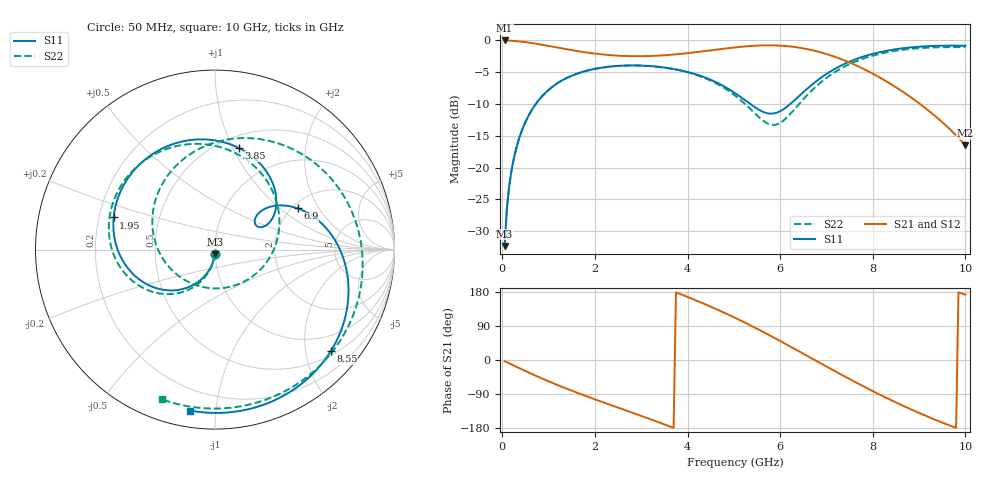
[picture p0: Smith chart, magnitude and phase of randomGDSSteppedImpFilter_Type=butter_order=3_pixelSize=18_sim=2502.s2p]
! freq	dB(S11)	phase(S11)	dB(S12)	phase(S12)
!  dB(S21)	phase(S21)	dB(S22)	phase(S22)
!S-par simulation data
#  GHz  S  DB  R 50
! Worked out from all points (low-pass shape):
!   200 points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, 50 MHz to 10 GHz, reference 50 ohm
!   highest |S21| = -0.01 dB at 50 MHz (marker M1); lowest = -16.5 dB at 10 GHz (marker M2)
!   |S21| within 3 dB of the highest: start of sweep to 7.34 GHz
!   lowest |S11| = -32.4 dB at 50 MHz (marker M3), VSWR 1.05, Z = 49.8 - j2.4 ohm
!   |S11| at or under -10 dB: start of sweep to 724.4 MHz; 5.354 GHz to 6.218 GHz (864.8 MHz wide, 14.9 % of centre)
!   |S22| runs from -32.4 to -1.1 dB; largest |S21 - S12| = 0
!   S11 on the Smith chart (normalised r, x): 50 MHz: 1.00, -0.05; 1.95 GHz: 0.26, +0.14; 3.85 GHz: 0.62, +1.06; 6.9 GHz: 2.14, +1.34; 8.55 GHz: 0.59, -2.53; 10 GHz: 0.08, -0.85
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0.05  -32.35 -93.2  -0.01 -3.0  -0.01 -3.0  -32.37 -92.9
0.1  -26.36 -96.5  -0.02 -6.0  -0.02 -6.0  -26.36 -95.9
0.2  -20.42 -102.8  -0.06 -11.9  -0.06 -11.9  -20.39 -101.5
0.5  -12.83 -121.1  -0.27 -29.2  -0.27 -29.2  -12.82 -118.2
1.1  -7.20 -155.2  -1.00 -61.4  -1.00 -61.4  -7.19 -148.8
1.75  -4.91 171.9  -1.83 -92.6  -1.83 -92.6  -4.91 -178.2
1.95  -4.55 162.4  -2.03 -101.6  -2.03 -101.6  -4.54 173.3
2.65  -3.95 130.3  -2.45 -132.2  -2.45 -132.2  -3.96 144.3
3.4  -4.17 96.8  -2.38 -165.3  -2.38 -165.3  -4.19 112.0
3.85  -4.70 76.9  -2.12 173.7  -2.12 173.7  -4.74 90.6
4.45  -6.04 51.1  -1.61 143.4  -1.61 143.4  -6.16 57.3
5.05  -8.41 30.2  -1.08 110.0  -1.08 110.0  -8.81 13.4
5.5  -10.73 25.6  -0.82 82.6  -0.82 82.6  -11.79 -35.3
5.9  -11.43 34.3  -0.79 56.7  -0.79 56.7  -13.27 -100.2
6.3  -9.48 39.9  -1.02 30.0  -1.02 30.0  -10.90 -165.0
6.7  -6.89 32.9  -1.55 2.9  -1.55 2.9  -7.75 147.2
6.9  -5.77 26.5  -1.93 -10.6  -1.93 -10.6  -6.46 126.9
7.6  -3.04 -1.5  -3.80 -56.8  -3.80 -56.8  -3.40 64.0
8.35  -1.56 -33.1  -6.69 -103.3  -6.69 -103.3  -1.80 3.6
8.55  -1.33 -41.3  -7.60 -114.9  -7.60 -114.9  -1.56 -11.5
9.3  -0.87 -71.1  -11.61 -155.3  -11.61 -155.3  -1.11 -64.5
10  -0.84 -98.8  -16.52 172.3  -16.52 172.3  -1.06 -109.7
